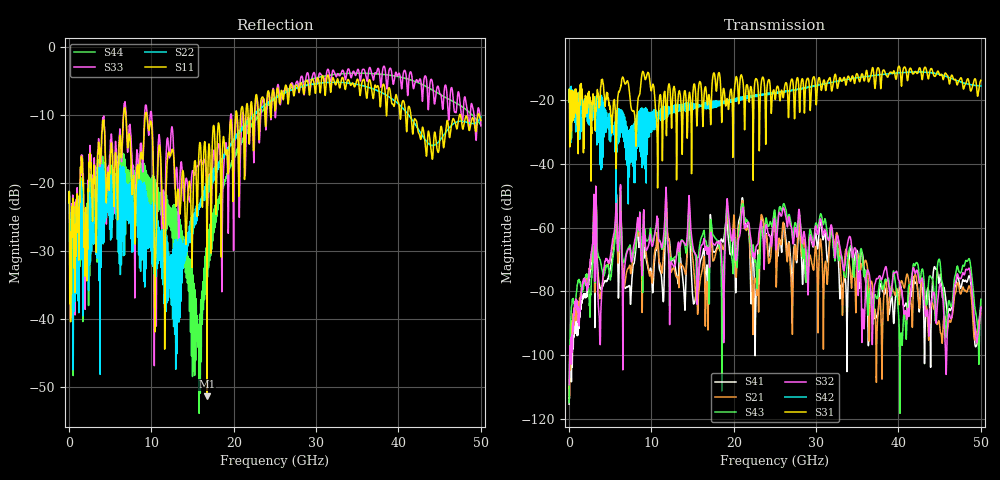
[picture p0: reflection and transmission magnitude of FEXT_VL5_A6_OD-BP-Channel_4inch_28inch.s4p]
#	Hz	S	RI	R	50
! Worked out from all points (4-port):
!   2500 points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, 20 MHz to 50 GHz, reference 50 ohm
!   strongest paths, dB at 20 MHz, 12.52 GHz, 25.02 GHz, 37.52 GHz, 50 GHz:
!     S31: -20.5, -23.0, -19.7, -9.8, -13.7
!     S42: -20.5, -21.9, -17.6, -12.1, -15.5
!     S32: -109.3, -71.3, -59.3, -76.0, -85.0
!     S43: -115.0, -69.9, -55.2, -81.1, -82.5
!     S21: -110.5, -73.4, -60.7, -86.6, -86.9
!     S41: -115.5, -70.3, -55.8, -86.8, -84.9
!   lowest |S11| = -51.4 dB at 16.76 GHz (marker M1), VSWR 1.01, Z = 49.9 + j0.245 ohm
!   |S11| at or under -10 dB: start of sweep to 6.641 GHz; 9.449 GHz to 20.24 GHz (10.79 GHz wide, 72.7 % of centre); 41.51 GHz to 47.4 GHz (5.892 GHz wide, 13.3 % of centre)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
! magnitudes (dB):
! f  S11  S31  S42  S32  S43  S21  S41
! 20 MHz  -22.9  -20.5  -20.5  -109.3  -115.0  -110.5  -115.5
! 11.82 GHz  -20.2  -30.6  -25.0  -49.5  -53.3  -49.4  -53.5
! 16.76 GHz  -51.4  -20.7  -20.8  -67.5  -68.2  -77.1  -71.7
! 21.02 GHz  -8.8  -12.7  -19.5  -54.5  -52.8  -51.8  -50.8
! 22.46 GHz  -13.0  -18.7  -18.8  -68.6  -68.4  -78.7  -73.4
! 23.46 GHz  -7.4  -13.0  -18.4  -60.6  -59.7  -56.5  -57.2
! 50 GHz  -10.8  -13.7  -15.5  -85.0  -82.5  -86.9  -84.9
